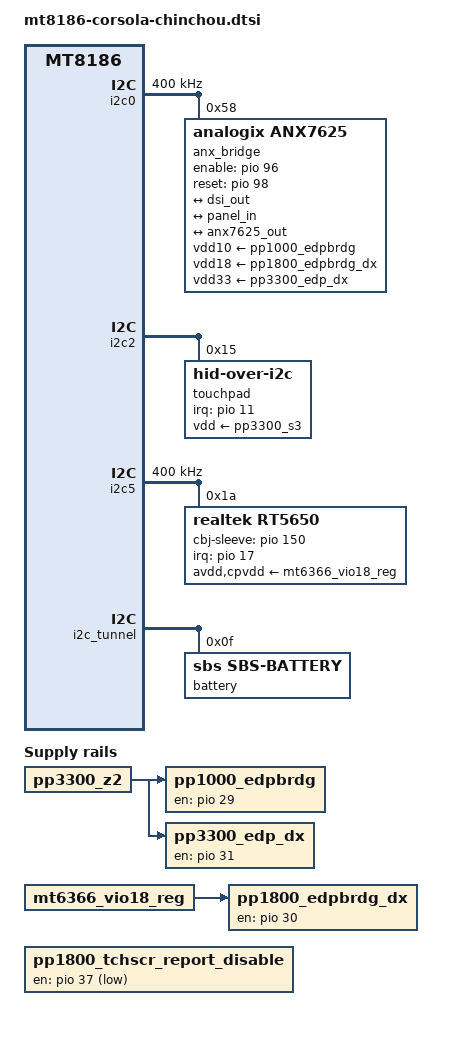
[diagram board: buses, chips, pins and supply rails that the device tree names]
// SPDX-License-Identifier: (GPL-2.0 OR MIT)
/*
 * Copyright 2024 Google LLC
 */

/dts-v1/;
#include "mt8186-corsola.dtsi"

/ {
	/delete-node/ speaker-codec;

	pp1000_edpbrdg: regulator-pp1000-edpbrdg {
		compatible = "regulator-fixed";
		regulator-name = "pp1000_edpbrdg";
		pinctrl-names = "default";
		pinctrl-0 = <&en_pp1000_edpbrdg>;
		enable-active-high;
		regulator-boot-on;
		gpio = <&pio 29 GPIO_ACTIVE_HIGH>;
		vin-supply = <&pp3300_z2>;
	};

	pp1800_edpbrdg_dx: regulator-pp1800-edpbrdg-dx {
		compatible = "regulator-fixed";
		regulator-name = "pp1800_edpbrdg_dx";
		pinctrl-names = "default";
		pinctrl-0 = <&en_pp1800_edpbrdg>;
		enable-active-high;
		regulator-boot-on;
		gpio = <&pio 30 GPIO_ACTIVE_HIGH>;
		vin-supply = <&mt6366_vio18_reg>;
	};

	pp3300_edp_dx: regulator-pp3300-edp-dx {
		compatible = "regulator-fixed";
		regulator-name = "pp3300_edp_dx";
		pinctrl-names = "default";
		pinctrl-0 = <&en_pp3300_edpbrdg>;
		enable-active-high;
		regulator-boot-on;
		gpio = <&pio 31 GPIO_ACTIVE_HIGH>;
		vin-supply = <&pp3300_z2>;
	};

	pp1800_tchscr_report_disable: regulator-pp1800-tchscr-report-disable {
		compatible = "regulator-fixed";
		regulator-name = "pp1800_tchscr_report_disable";
		pinctrl-names = "default";
		regulator-boot-on;
		pinctrl-0 = <&touch_pin_report>;
		gpio = <&pio 37 GPIO_ACTIVE_LOW>;
	};
};

&dsi_out {
	remote-endpoint = <&anx7625_in>;
};

&i2c0 {
	clock-frequency = <400000>;

	anx_bridge: anx7625@58 {
		compatible = "analogix,anx7625";
		reg = <0x58>;
		pinctrl-names = "default";
		pinctrl-0 = <&anx7625_pins>;
		enable-gpios = <&pio 96 GPIO_ACTIVE_HIGH>;
		reset-gpios = <&pio 98 GPIO_ACTIVE_HIGH>;
		vdd10-supply = <&pp1000_edpbrdg>;
		vdd18-supply = <&pp1800_edpbrdg_dx>;
		vdd33-supply = <&pp3300_edp_dx>;
		analogix,lane0-swing = /bits/ 8 <0x70 0x30>;
		analogix,lane1-swing = /bits/ 8 <0x70 0x30>;

		ports {
			#address-cells = <1>;
			#size-cells = <0>;

			port@0 {
				reg = <0>;

				anx7625_in: endpoint {
					remote-endpoint = <&dsi_out>;
					data-lanes = <0 1 2 3>;
				};
			};

			port@1 {
				reg = <1>;

				anx7625_out: endpoint {
					remote-endpoint = <&panel_in>;
				};
			};
		};

		aux-bus {
			panel: panel {
				compatible = "edp-panel";
				power-supply = <&pp3300_disp_x>;
				backlight = <&backlight_lcd0>;

				port {
					panel_in: endpoint {
						remote-endpoint = <&anx7625_out>;
					};
				};
			};
		};
	};
};

&i2c2 {
	/delete-node/ trackpad@15;

	touchpad@15 {
		compatible = "hid-over-i2c";
		reg = <0x15>;
		interrupts-extended = <&pio 11 IRQ_TYPE_LEVEL_LOW>;
		post-power-on-delay-ms = <10>;
		hid-descr-addr = <0x0001>;
		vdd-supply = <&pp3300_s3>;
		wakeup-source;
	};
};

&i2c5 {
	clock-frequency = <400000>;
	/delete-node/ codec@1a;

	rt5650: rt5650@1a {
		compatible = "realtek,rt5650";
		reg = <0x1a>;
		avdd-supply = <&mt6366_vio18_reg>;
		cpvdd-supply = <&mt6366_vio18_reg>;
		pinctrl-names = "default";
		pinctrl-0 = <&speaker_codec_pins_default>;
		cbj-sleeve-gpios = <&pio 150 GPIO_ACTIVE_HIGH>;
		interrupt-parent = <&pio>;
		interrupts = <17 IRQ_TYPE_EDGE_BOTH>;
		#sound-dai-cells = <0>;
		realtek,dmic1-data-pin = <2>;
		realtek,jd-mode = <2>;
	};
};

&i2c_tunnel {
	/delete-node/ sbs-battery@b;

	battery: sbs-battery@f {
		compatible = "sbs,sbs-battery";
		reg = <0xf>;
		sbs,i2c-retry-count = <2>;
		sbs,poll-retry-count = <1>;
	};
};

&keyboard_controller {
	keypad,num-columns = <15>;

	function-row-physmap = <
		MATRIX_KEY(0x00, 0x02, 0)        /* T1 */
		MATRIX_KEY(0x03, 0x02, 0)        /* T2 */
		MATRIX_KEY(0x02, 0x02, 0)        /* T3 */
		MATRIX_KEY(0x01, 0x02, 0)        /* T4 */
		MATRIX_KEY(0x03, 0x04, 0)        /* T5 */
		MATRIX_KEY(0x02, 0x04, 0)        /* T6 */
		MATRIX_KEY(0x01, 0x04, 0)        /* T7 */
		MATRIX_KEY(0x02, 0x09, 0)        /* T8 */
		MATRIX_KEY(0x01, 0x09, 0)        /* T9 */
		MATRIX_KEY(0x00, 0x04, 0)        /* T10 */
		MATRIX_KEY(0x00, 0x01, 0)        /* T11 */
		MATRIX_KEY(0x01, 0x05, 0)        /* T12 */
	>;

	linux,keymap = <
		CROS_STD_MAIN_KEYMAP
		MATRIX_KEY(0x00, 0x02, KEY_BACK)           /* T1 */
		MATRIX_KEY(0x03, 0x02, KEY_REFRESH)        /* T2 */
		MATRIX_KEY(0x02, 0x02, KEY_ZOOM)           /* T3 */
		MATRIX_KEY(0x01, 0x02, KEY_SCALE)          /* T4 */
		MATRIX_KEY(0x03, 0x04, KEY_SYSRQ)          /* T5 */
		MATRIX_KEY(0x02, 0x04, KEY_BRIGHTNESSDOWN) /* T6 */
		MATRIX_KEY(0x01, 0x04, KEY_BRIGHTNESSUP)   /* T7 */
		MATRIX_KEY(0x02, 0x09, KEY_MUTE)           /* T8 */
		MATRIX_KEY(0x01, 0x09, KEY_VOLUMEDOWN)	   /* T9 */
		MATRIX_KEY(0x00, 0x04, KEY_VOLUMEUP)	   /* T10 */
		MATRIX_KEY(0x00, 0x01, KEY_MICMUTE)        /* T11 */
		MATRIX_KEY(0x01, 0x05, KEY_CONTROLPANEL)   /* T12 */
		MATRIX_KEY(0x03, 0x05, KEY_PREVIOUSSONG)   /* T13 */
		MATRIX_KEY(0x00, 0x09, KEY_PLAYPAUSE)	   /* T14 */
		MATRIX_KEY(0x00, 0x0b, KEY_NEXTSONG)	   /* T15 */
		MATRIX_KEY(0x03, 0x00, KEY_LEFTMETA)	   /* Search*/
		MATRIX_KEY(0x01, 0x0e, KEY_LEFTCTRL)	   /* Left Control*/
		MATRIX_KEY(0x06, 0x0d, KEY_LEFTALT)        /* Left ALT*/
		MATRIX_KEY(0x03, 0x0e, KEY_RIGHTCTRL)      /* Right Control*/
		MATRIX_KEY(0x06, 0x0a, KEY_BACKSLASH)      /* BACKSLASH*/
	>;
};

&mmc1_pins_default {
	pins-clk {
		drive-strength = <8>;
	};

	pins-cmd-dat {
		drive-strength = <8>;
	};
};

&mmc1_pins_uhs {
	pins-clk {
		drive-strength = <8>;
	};

	pins-cmd-dat {
		drive-strength = <8>;
	};
};

&pen_insert {
	wakeup-event-action = <EV_ACT_ANY>;
};

&pio {
	anx7625_pins: anx7625-pins {
		pins-int {
			pinmux = <PINMUX_GPIO9__FUNC_GPIO9>;
			input-enable;
			bias-disable;
		};

		pins-reset {
			pinmux = <PINMUX_GPIO98__FUNC_GPIO98>;
			output-low;
		};

		pins-power-en {
			pinmux = <PINMUX_GPIO96__FUNC_GPIO96>;
			output-low;
		};
	};

	en_pp1000_edpbrdg: pp1000-edpbrdg-en-pins {
		pins-vreg-en {
			pinmux = <PINMUX_GPIO29__FUNC_GPIO29>;
			output-low;
		};
	};

	en_pp1800_edpbrdg: pp1800-edpbrdg-en-pins {
		pins-vreg-en {
			pinmux = <PINMUX_GPIO30__FUNC_GPIO30>;
			output-low;
		};
	};

	en_pp3300_edpbrdg: pp3300-edpbrdg-en-pins {
		pins-vreg-en {
			pinmux = <PINMUX_GPIO31__FUNC_GPIO31>;
			output-low;
		};
	};

	touch_pin_report: pin-report-pins {
		pins-touch-en {
			pinmux = <PINMUX_GPIO37__FUNC_GPIO37>;
			output-low;
		};
	};
};

&sound {
	compatible = "mediatek,mt8186-mt6366-rt5650-sound";
	model = "mt8186_rt5650";
	mediatek,adsp = <&adsp>;

	audio-routing =
		"Headphone", "HPOL",
		"Headphone", "HPOR",
		"IN1P", "Headset Mic",
		"IN1N", "Headset Mic",
		"Speakers", "SPOL",
		"Speakers", "SPOR",
		"HDMI1", "TX";

	hs-playback-dai-link {
		codec {
			sound-dai = <&rt5650>;
		};
	};

	hs-capture-dai-link {
		codec {
			sound-dai = <&rt5650>;
		};
	};

	spk-share-dai-link {
	};

	spk-hdmi-playback-dai-link {
		codec {
			sound-dai = <&it6505dptx>;
		};
	};
};

&touchscreen_pins {
	/delete-node/ pins-report-sw;
};

&wifi_enable_pin {
	pins-wifi-enable {
		pinmux = <PINMUX_GPIO51__FUNC_GPIO51>;
	};
};

&wifi_pwrseq {
	reset-gpios = <&pio 51 GPIO_ACTIVE_LOW>;
};
